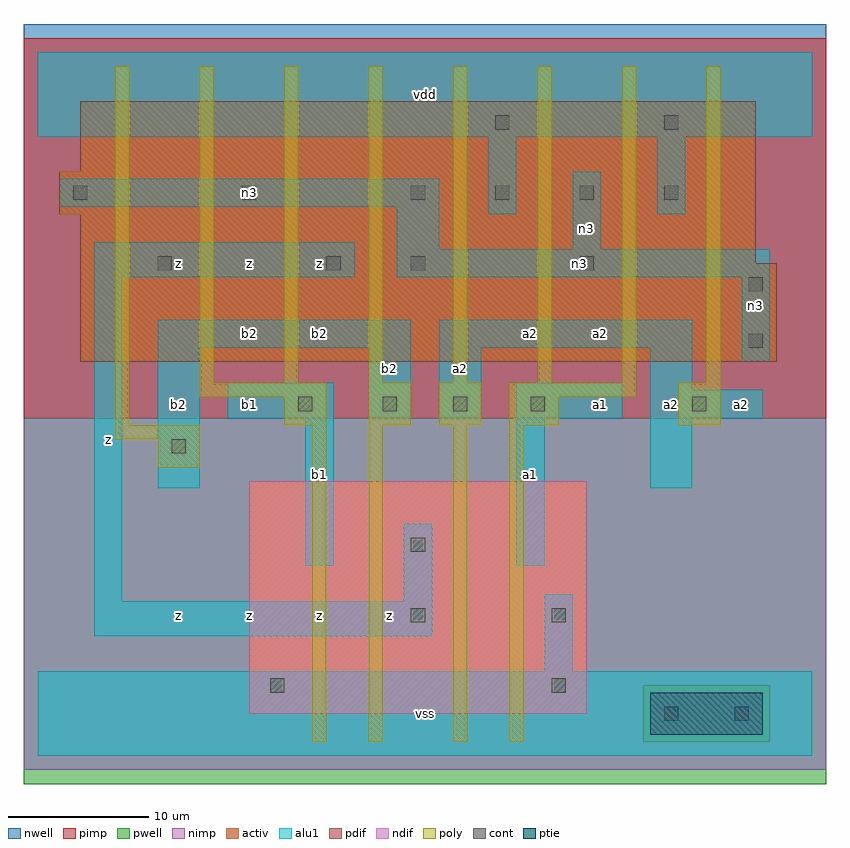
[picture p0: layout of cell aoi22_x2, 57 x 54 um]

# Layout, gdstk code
import gdstk
lib = gdstk.Library(unit=1e-6, precision=1e-09)
def R(c, l, rs):  # rectangles x0, y0, x1, y1
    for r in rs: c.add(gdstk.rectangle(r[:2], r[2:], *l))
def A(c, l, x, y, w, h, nx, ny, dx, dy):  # array of equal rectangles
    R(c, l, [(x+i*dx, y+j*dy, x+i*dx+w, y+j*dy+h) for i in range(nx) for j in range(ny)])
ndif = (3, 0)
pdif = (4, 0)
ptie = (6, 0)
cont = (25, 0)
pwell = (41, 0)
nwell = (42, 0)
activ = (43, 0)
pimp = (44, 0)
nimp = (45, 0)
poly = (46, 0)
alu1 = (49, 0)

aoi22_x2 = lib.new_cell('aoi22_x2')
R(aoi22_x2, ndif, [(15,3,39,19.5)])
R(aoi22_x2, pdif, [(3,28,52.5,35), (3,35,51,38.5), (1.5,38.5,51,41.5), (3,41.5,51,46.5)])
R(aoi22_x2, ptie, [(43.5,1.5,51.5,4.5)])
A(aoi22_x2, cont, 2.5, 39.5, 1, 1, 3, 1, 12, 0)
A(aoi22_x2, cont, 32.5, 39.5, 1, 1, 3, 1, 6, 0)
R(aoi22_x2, cont, [(44.5,2.5,45.5,3.5), (49.5,2.5,50.5,3.5), (16.5,4.5,17.5,5.5), (36.5,4.5,37.5,5.5), (26.5,9.5,27.5,10.5), (36.5,9.5,37.5,10.5), (26.5,14.5,27.5,15.5), (9.5,21.5,10.5,22.5), (18.5,24.5,19.5,25.5), (24.5,24.5,25.5,25.5), (29.5,24.5,30.5,25.5), (35,24.5,36,25.5), (46.5,24.5,47.5,25.5), (50.5,29,51.5,30), (50.5,33,51.5,34), (8.5,34.5,9.5,35.5), (20.5,34.5,21.5,35.5), (26.5,34.5,27.5,35.5), (38.5,34.5,39.5,35.5), (32.5,44.5,33.5,45.5), (44.5,44.5,45.5,45.5)])
R(aoi22_x2, pwell, [(-1,-2,56,24)])
R(aoi22_x2, nwell, [(-1,24,56,52)])
R(aoi22_x2, activ, [(43.5,1.5,51.5,4.5), (15,3,39,19.5), (3,28,52.5,35), (3,35,51,38.5), (1.5,38.5,51,41.5), (3,41.5,51,46.5)])
R(aoi22_x2, pimp, [(43,1,52,5), (-1,24,56,51)])
R(aoi22_x2, nimp, [(-1,-1,56,1), (-1,1,43,5), (52,1,56,5), (-1,5,56,24)])
A(aoi22_x2, poly, 11.5, 26.5, 1, 22.5, 7, 1, 6, 0)
R(aoi22_x2, poly, [(19.5,1,20.5,23.5), (23.5,1,24.5,23.5), (29.5,1,30.5,23.5), (33.5,1,34.5,23.5), (8.5,20.5,11.5,22.5), (5.5,22.5,11.5,23.5), (5.5,23.5,6.5,49), (17.5,23.5,20.5,25.5), (23.5,23.5,26.5,26.5), (28.5,23.5,31.5,26.5), (33.5,23.5,37,25.5), (45.5,23.5,48.5,26.5), (11.5,25.5,20.5,26.5), (33.5,25.5,42.5,26.5)])
R(aoi22_x2, alu1, [(0,0,55,6), (36,6,38,11.5), (4,8.5,28,11), (4,11,6,34), (26,11,28,16.5), (19,13.5,21,24), (34,13.5,36,24), (8.5,19,11.5,29), (43.5,19,46.5,24), (13.5,24,21,26.5), (23.5,24,26.5,29), (28.5,24,31.5,29), (34,24,41.5,26.5), (43.5,24,51.5,26), (43.5,26,46.5,29), (50,28,52,34), (8.5,29,26.5,31), (28.5,29,46.5,31), (4,34,22.5,36.5), (25.5,34,52,36), (25.5,36,28.5,39), (38,36,40,41.5), (32,38.5,34,44), (44,38.5,46,44), (1.5,39,28.5,41), (0,44,55,50)])
aoi22_x2.add(gdstk.Label('z', (5,22.5), layer=49, texttype=0))
aoi22_x2.add(gdstk.Label('z', (20,10), layer=49, texttype=0))
aoi22_x2.add(gdstk.Label('z', (15,10), layer=49, texttype=0))
aoi22_x2.add(gdstk.Label('z', (10,10), layer=49, texttype=0))
aoi22_x2.add(gdstk.Label('b1', (20,20), layer=49, texttype=0))
aoi22_x2.add(gdstk.Label('b2', (10,25), layer=49, texttype=0))
aoi22_x2.add(gdstk.Label('b1', (15,25), layer=49, texttype=0))
aoi22_x2.add(gdstk.Label('b2', (20,30), layer=49, texttype=0))
aoi22_x2.add(gdstk.Label('b2', (15,30), layer=49, texttype=0))
aoi22_x2.add(gdstk.Label('z', (10,35), layer=49, texttype=0))
aoi22_x2.add(gdstk.Label('z', (20,35), layer=49, texttype=0))
aoi22_x2.add(gdstk.Label('z', (15,35), layer=49, texttype=0))
aoi22_x2.add(gdstk.Label('vss', (27.5,3), layer=49, texttype=0))
aoi22_x2.add(gdstk.Label('z', (25,10), layer=49, texttype=0))
aoi22_x2.add(gdstk.Label('b2', (25,27.5), layer=49, texttype=0))
aoi22_x2.add(gdstk.Label('a2', (30,27.5), layer=49, texttype=0))
aoi22_x2.add(gdstk.Label('n3', (15,40), layer=49, texttype=0))
aoi22_x2.add(gdstk.Label('vdd', (27.5,47), layer=49, texttype=0))
aoi22_x2.add(gdstk.Label('a1', (35,20), layer=49, texttype=0))
aoi22_x2.add(gdstk.Label('a1', (40,25), layer=49, texttype=0))
aoi22_x2.add(gdstk.Label('a2', (40,30), layer=49, texttype=0))
aoi22_x2.add(gdstk.Label('a2', (35,30), layer=49, texttype=0))
aoi22_x2.add(gdstk.Label('n3', (39,37.5), layer=49, texttype=0))
aoi22_x2.add(gdstk.Label('a2', (45,25), layer=49, texttype=0))
aoi22_x2.add(gdstk.Label('a2', (50,25), layer=49, texttype=0))
aoi22_x2.add(gdstk.Label('n3', (51,32), layer=49, texttype=0))
aoi22_x2.add(gdstk.Label('n3', (38.5,35), layer=49, texttype=0))

lib.write_gds('aoi22_x2.gds')
